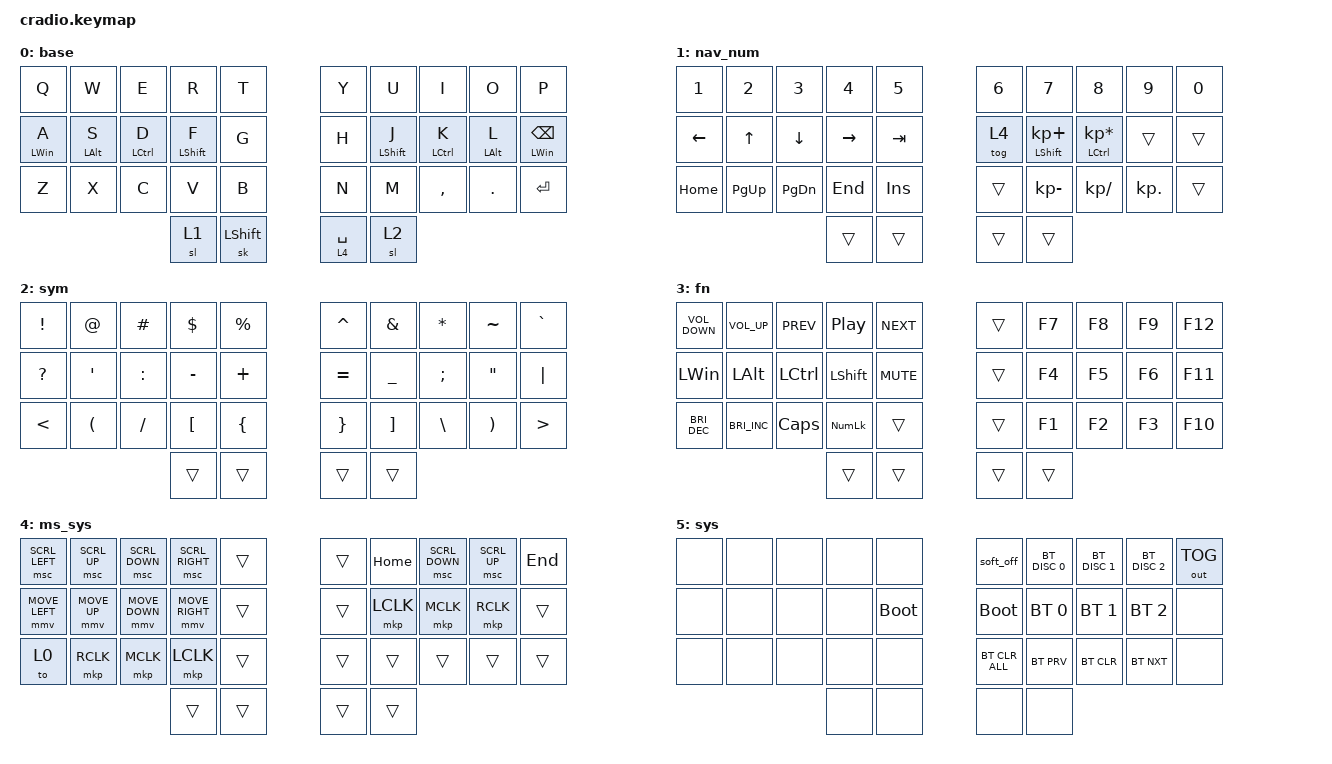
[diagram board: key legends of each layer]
// Copyright (c) 2022 The ZMK Contributors
// SPDX-License-Identifier: MIT
// key map
//  0  1  2  3  4    5  6  7  8  9     
// 10 11 12 13 14   15 16 17 18 19
// 20 21 22 23 24   25 26 27 28 29
//          30 31   32 33
// pin map
//  7 18 19 20 21   21 20 19 18  7
// 15 14 16 10  1    1 10 16 14 15
//  2  3  4  5  6    6  5  4  3  2
//           8  9    9  8

#include <behaviors.dtsi>
#include <dt-bindings/zmk/bt.h>
#include <dt-bindings/zmk/keys.h>
#include <dt-bindings/zmk/outputs.h>
#include <dt-bindings/zmk/pointing.h>

// cursor and scroll speed

#define ZMK_POINTING_DEFAULT_MOVE_VAL 2500
#define ZMK_POINTING_DEFAULT_SCRL_VAL 100

// Global settings for behaviors

&soft_off {
    hold-time-ms = <0>; // Turn off immediately (in ms)
};

&mmv {
    time-to-max-speed-ms = <750>;
    acceleration-exponent = <1>;
};

&msc {
    time-to-max-speed-ms = <750>;
    acceleration-exponent = <1>;
};

&sk {
    release-after-ms = <1000>;
    quick-release;
};

&sl {
    release-after-ms = <1000>;
    quick-release;
};

/ {
    behaviors {
        ht: hold_tap {
            compatible = "zmk,behavior-hold-tap";
            flavor = "balanced";
            tapping-term-ms = <220>;
            quick-tap-ms = <200>;
            require-prior-idle-ms = <100>;
            #binding-cells = <2>;
            bindings = <&kp>, <&kp>;

            hold-trigger-on-release;
        };

        hml: left_home_row_mods {
            compatible = "zmk,behavior-hold-tap";
            #binding-cells = <2>;
            flavor = "balanced";
            tapping-term-ms = <250>;
            quick-tap-ms = <175>;
            require-prior-idle-ms = <150>;
            bindings = <&kp>, <&kp>;

            hold-trigger-key-positions = <5 6 7 8 9 15 16 17 18 19 25 26 27 28 29 32 33>; // all right-side keys + right thumbs
            hold-trigger-on-release;
        };

        hmr: right_home_row_mods {
            compatible = "zmk,behavior-hold-tap";
            #binding-cells = <2>;
            flavor = "balanced";
            tapping-term-ms = <250>;
            quick-tap-ms = <175>;
            require-prior-idle-ms = <150>;
            bindings = <&kp>, <&kp>;

            hold-trigger-key-positions = <0 1 2 3 4 10 11 12 13 14 20 21 22 23 24 30 31>; // all left-side keys + left thumbs
            hold-trigger-on-release;
        };

        mmv {
            acceleration-exponent = <0>;
            time-to-max-speed-ms = <0>;
            delay-ms = <0>;
        };

        msc {
            acceleration-exponent = <0>;
            time-to-max-speed-ms = <0>;
            delay-ms = <0>;
        };
    };

    conditional_layers {
        compatible = "zmk,conditional-layers";

        fn {
            if-layers = <1 2>;
            then-layer = <3>;
        };
    };

    combos {
        compatible = "zmk,combos";

        // Single keys

        combo_key_space {
            bindings = <&kp SPACE>;
            key-positions = <2 1>;
            timeout-ms = <50>;
            require-prior-idle-ms = <250>;
            layers = <0>;
        };

        combo_key_backspace {
            bindings = <&kp BACKSPACE>;
            key-positions = <13 12>;
            timeout-ms = <50>;
            require-prior-idle-ms = <250>;
            layers = <0>;
        };

        combo_key_delete {
            bindings = <&kp DELETE>;
            key-positions = <10 11>;
            timeout-ms = <50>;
            require-prior-idle-ms = <250>;
            layers = <0>;
        };

        combo_key_esc {
            bindings = <&kp ESCAPE>;
            key-positions = <1 0>;
            timeout-ms = <50>;
            require-prior-idle-ms = <250>;
            layers = <0>;
        };

        combo_key_enter {
            bindings = <&kp ENTER>;
            key-positions = <11 12>;
            timeout-ms = <50>;
            require-prior-idle-ms = <100>;
            layers = <0>;
        };

        combo_key_tab {
            bindings = <&kp TAB>;
            key-positions = <11 12>;
            timeout-ms = <100>;
            require-prior-idle-ms = <250>;
            layers = <1>;
        };

        combo_key_pscrn {
            bindings = <&kp PRINTSCREEN>;
            key-positions = <10 13>;
            timeout-ms = <100>;
            require-prior-idle-ms = <250>;
            layers = <1>;
        };

        // Text manage

        combo_cut {
            bindings = <&kp LC(X)>;
            key-positions = <20 21>;
            timeout-ms = <60>;
            require-prior-idle-ms = <250>;
            layers = <0>;
        };

        combo_copy {
            bindings = <&kp LC(C)>;
            key-positions = <21 22>;
            timeout-ms = <150>;
            layers = <0 4>;
            require-prior-idle-ms = <250>;
        };

        combo_paste {
            bindings = <&kp LC(V)>;
            key-positions = <22 23>;
            timeout-ms = <60>;
            layers = <0>;
            require-prior-idle-ms = <250>;
        };

        combo_select_all {
            bindings = <&kp LC(A)>;
            key-positions = <20 23>;
            timeout-ms = <60>;
            require-prior-idle-ms = <250>;
            layers = <0>;
        };

        combo_save {
            bindings = <&kp LC(S)>;
            key-positions = <10 11>;
            timeout-ms = <100>;
            require-prior-idle-ms = <250>;
            layers = <1>;
        };

        combo_term_copy {
            bindings = <&kp LC(LS(C))>;
            key-positions = <21 22>;
            timeout-ms = <150>;
            layers = <1>;
            require-prior-idle-ms = <250>;
        };

        combo_term_paste {
            bindings = <&kp LC(LS(V))>;
            key-positions = <22 23>;
            layers = <1>;
            timeout-ms = <150>;
            require-prior-idle-ms = <250>;
        };

        // Tab manage

        combo_tab_new {
            bindings = <&kp LC(T)>;
            key-positions = <2 3>;
            timeout-ms = <30>;
            require-prior-idle-ms = <250>;
            layers = <1>;
        };

        combo_tab_close {
            bindings = <&kp LC(W)>;
            key-positions = <0 1>;
            timeout-ms = <30>;
            require-prior-idle-ms = <250>;
            layers = <1>;
        };

        combo_tab_refresh {
            bindings = <&kp F5>;
            key-positions = <0 3>;
            timeout-ms = <50>;
            require-prior-idle-ms = <250>;
            layers = <1>;
        };

        // Mouse manage

        combo_mouse_layer_toggle {
            bindings = <&tog 4>;
            key-positions = <17 16>;
            timeout-ms = <50>;
            require-prior-idle-ms = <250>;
            layers = <0 4>;
        };

        combo_sym_slash {
            bindings = <&kp SLASH>;
            key-positions = <17 27>;
            timeout-ms = <100>;
            require-prior-idle-ms = <150>;
            layers = <0>;
        };

        combo_sym_bslash {
            bindings = <&kp BACKSLASH>;
            key-positions = <12 22>;
            timeout-ms = <100>;
            require-prior-idle-ms = <150>;
            layers = <0>;
        };

        combo_sym_asterisk {
            bindings = <&kp ASTERISK>;
            key-positions = <7 17>;
            timeout-ms = <100>;
            require-prior-idle-ms = <150>;
            layers = <0>;
        };

        combo_sym_plus {
            bindings = <&kp PLUS>;
            key-positions = <6 16>;
            timeout-ms = <100>;
            require-prior-idle-ms = <150>;
            layers = <0>;
        };

        combo_sym_minus {
            bindings = <&kp MINUS>;
            key-positions = <16 26>;
            timeout-ms = <100>;
            require-prior-idle-ms = <150>;
            layers = <0>;
        };

        combo_sym_caret {
            bindings = <&kp CARET>;
            key-positions = <5 15>;
        };

        combo_sym_underscore {
            bindings = <&kp UNDER>;
            key-positions = <15 25>;
        };

        combo_sym_amp {
            bindings = <&kp AMPS>;
            key-positions = <8 18>;
            timeout-ms = <100>;
            require-prior-idle-ms = <150>;
            layers = <0>;
        };

        combo_sym_pipe {
            bindings = <&kp PIPE>;
            key-positions = <18 28>;
            timeout-ms = <100>;
            require-prior-idle-ms = <150>;
            layers = <0>;
        };

        combo_tog_sys {
            bindings = <&tog 5>;
            key-positions = <24 31>;
            timeout-ms = <100>;
            require-prior-idle-ms = <250>;
        };

        combo_switch_layout {
            bindings = <&kp LG(SPACE)>;
            key-positions = <7 8>;
            timeout-ms = <100>;
            require-prior-idle-ms = <250>;
            layers = <0>;
        };
    };

    keymap {
        compatible = "zmk,keymap";

        base {
            display-name = "base";
            bindings = <
&kp Q            &kp W            &kp E         &kp R              &kp T             &kp Y        &kp U              &kp I         &kp O            &kp P
&hml LEFT_WIN A  &hml LEFT_ALT S  &hml LCTRL D  &hml LEFT_SHIFT F  &kp G             &kp H        &hmr LEFT_SHIFT J  &hmr LCTRL K  &hmr LEFT_ALT L  &hmr LEFT_WIN BACKSPACE
&kp Z            &kp X            &kp C         &kp V              &kp B             &kp N        &kp M              &kp COMMA     &kp DOT          &kp ENTER
                                                &sl 1              &sk LEFT_SHIFT    &lt 4 SPACE  &sl 2
            >;
        };

        nav_num {
            display-name = "nav_num";
            bindings = <
&kp NUMBER_1    &kp N2        &kp N3         &kp N4     &kp N5     &kp N6  &kp NUMBER_7            &kp NUMBER_8           &kp NUMBER_9  &kp N0
&kp LEFT_ARROW  &kp UP_ARROW  &kp DOWN       &kp RIGHT  &kp TAB    &tog 4  &ht LEFT_SHIFT KP_PLUS  &ht LCTRL KP_MULTIPLY  &trans        &trans
&kp HOME        &kp PG_UP     &kp PAGE_DOWN  &kp END    &kp INS    &trans  &kp KP_MINUS            &kp KP_DIVIDE          &kp KP_DOT    &trans
                                             &trans     &trans     &trans  &trans
            >;
        };

        sym {
            display-name = "sym";
            bindings = <
&kp EXCL       &kp AT                &kp HASH   &kp DLLR          &kp PRCNT         &kp CARET        &kp AMPS           &kp ASTRK      &kp TILDE              &kp GRAVE
&kp QMARK      &kp APOSTROPHE        &kp COLON  &kp MINUS         &kp PLUS          &kp EQUAL        &kp UNDER          &kp SEMI       &kp DOUBLE_QUOTES      &kp PIPE
&kp LESS_THAN  &kp LEFT_PARENTHESIS  &kp SLASH  &kp LEFT_BRACKET  &kp LEFT_BRACE    &kp RIGHT_BRACE  &kp RIGHT_BRACKET  &kp BACKSLASH  &kp RIGHT_PARENTHESIS  &kp GREATER_THAN
                                                &trans            &trans            &trans           &trans
            >;
        };

        FUNC {
            display-name = "fn";
            bindings = <
&kp C_VOLUME_DOWN     &kp C_VOLUME_UP       &kp C_PREV    &kp C_PLAY_PAUSE  &kp C_NEXT    &trans  &kp F7  &kp F8  &kp F9  &kp F12
&kp LEFT_WIN          &kp LEFT_ALT          &kp LCTRL     &kp LEFT_SHIFT    &kp C_MUTE    &trans  &kp F4  &kp F5  &kp F6  &kp F11
&kp C_BRIGHTNESS_DEC  &kp C_BRIGHTNESS_INC  &kp CAPSLOCK  &kp KP_NUMLOCK    &trans        &trans  &kp F1  &kp F2  &kp F3  &kp F10
                                                          &trans            &trans        &trans  &trans
            >;
        };

        mouse {
            display-name = "ms_sys";
            bindings = <
&msc SCRL_LEFT  &msc SCRL_UP  &msc SCRL_DOWN  &msc SCRL_RIGHT  &trans    &trans  &kp HOME   &msc SCRL_DOWN  &msc SCRL_UP  &kp END
&mmv MOVE_LEFT  &mmv MOVE_UP  &mmv MOVE_DOWN  &mmv MOVE_RIGHT  &trans    &trans  &mkp LCLK  &mkp MCLK       &mkp RCLK     &trans
&to 0           &mkp RCLK     &mkp MCLK       &mkp LCLK        &trans    &trans  &trans     &trans          &trans        &trans
                                              &trans           &trans    &trans  &trans
            >;
        };

        sys {
            bindings = <
&none  &none  &none  &none  &none          &soft_off       &bt BT_DISC 0  &bt BT_DISC 1  &bt BT_DISC 2  &out OUT_TOG
&none  &none  &none  &none  &bootloader    &bootloader     &bt BT_SEL 0   &bt BT_SEL 1   &bt BT_SEL 2   &none
&none  &none  &none  &none  &none          &bt BT_CLR_ALL  &bt BT_PRV     &bt BT_CLR     &bt BT_NXT     &none
                     &none  &none          &none           &none
            >;
        };
    };
};
